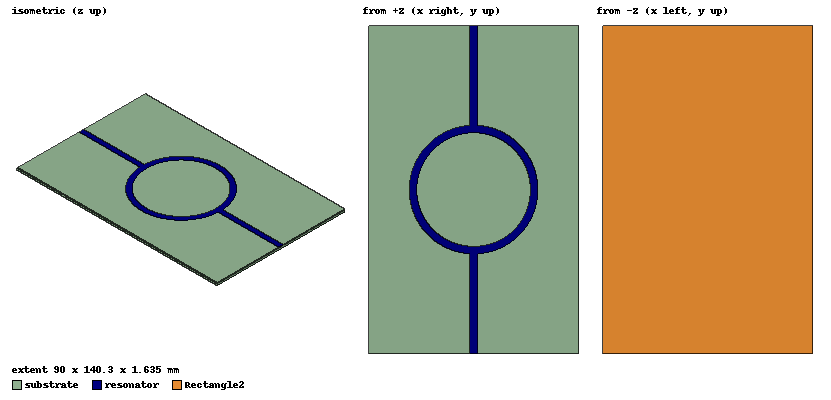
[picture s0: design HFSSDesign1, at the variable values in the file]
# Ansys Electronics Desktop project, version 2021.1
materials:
  vacuum: permittivity=1
  FR4_epoxy: permittivity=4.4 dielectric_loss_tangent=0.02
  copper: permeability=0.999991 conductivity=58000000

design HFSSDesign1 (HFSS, DrivenModal, model units mm)
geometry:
  resonator [copper] = cylinder(axis=Z, base_centre=(0mm, 0mm, 0mm), radius=27.5mm, height=0.0347mm, segments=500)
  Cylinder2 = cylinder(axis=Z, base_centre=(0mm, 0mm, 0mm), radius=24.3mm, height=0.0347mm, segments=500)
  substrate [FR4_epoxy] = box(corner=(-45mm, -70.14mm, -1.6mm), size=(90mm, 140.28mm, 1.6mm))
  resonator.subtract(Cylinder2)
  Box2 = box(corner=(-1.6mm, -70.14mm, 0mm), size=(3.2mm, 43mm, 0.0347mm))
  Box3 = box(corner=(1.6mm, 70.14mm, 0mm), size=(-3.2mm, -43mm, 0.0347mm))
  Rectangle1 = rectangle(corner=(-1.6mm, -70.14mm, 0.0347mm), z_size=-1.6347mm, x_size=3.2mm)
  Rectangle2 = rectangle(corner=(45mm, 70.14mm, -1.6mm), x_size=-90mm, y_size=-140.28mm)
  resonator.unite(Box3, Box2)
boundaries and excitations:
  PerfE1: Perfect E Objects=Rectangle2
  1: Lumped Port Objects=Rectangle1 Modes{Mode1{IntLine{middle of Rectangle1.edge(z opposite corner) -> middle of Rectangle1.edge(z at corner)} CharImp=Zpi RenormImp=50ohm}} Impedance=50ohm
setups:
  Setup1: HfssDrivenAuto AutoSolverSetting=Balanced Type=Interpolating
    sweep Sweep: 1GHz to 4GHz, 501 points;
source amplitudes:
  1:1: 1W 0deg
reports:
  S Parameter Plot 1: dB(S(1,1)) vs Freq on Setup1 : Sweep
  VSWR Plot 1: VSWR(1) vs Freq on Setup1 : Sweep
